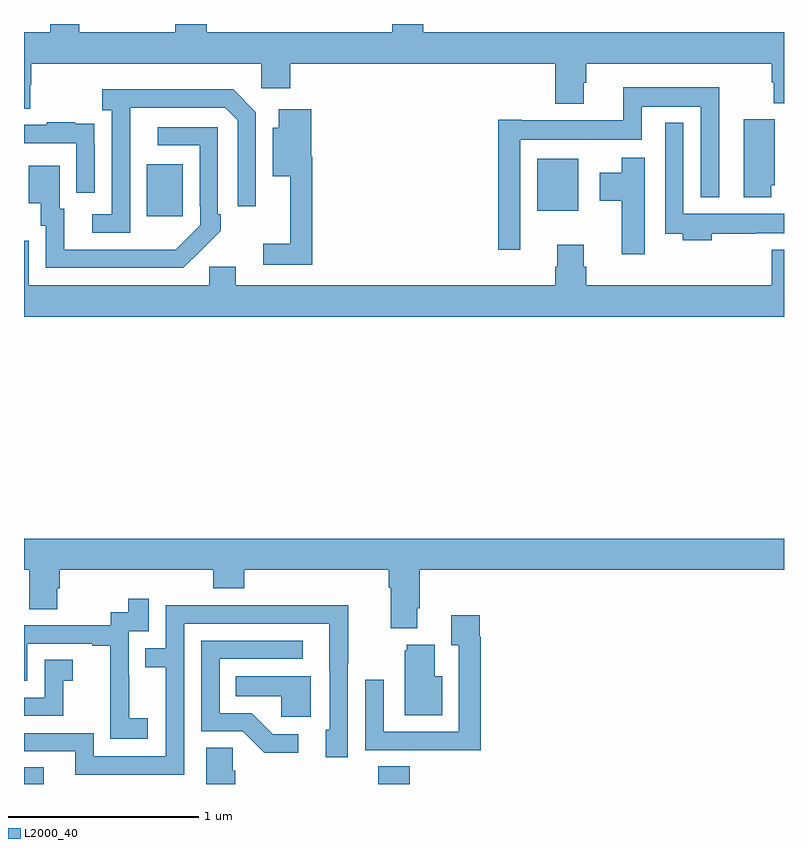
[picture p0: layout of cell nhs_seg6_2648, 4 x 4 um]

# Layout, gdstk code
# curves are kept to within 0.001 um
import gdstk
lib = gdstk.Library(unit=1e-6, precision=1e-09)
def R(c, l, rs):  # rectangles x0, y0, x1, y1
    for r in rs: c.add(gdstk.rectangle(r[:2], r[2:], *l))
def P(c, l, *ps):  # polygons
    for p in ps: c.add(gdstk.Polygon(p, *l))
L2000_40 = (2000, 40)

nhs_seg6_2648 = lib.new_cell('nhs_seg6_2648')
R(nhs_seg6_2648, L2000_40, [(267,987.5,267.103,987.587), (268.865,987.5,269.03,987.593), (267.647,990.489,267.835,990.763), (269.702,990.518,269.917,990.79)])
P(nhs_seg6_2648, L2000_40, [(267.033,991.179),(267.038,991.179),(267.038,991.292),(268.248,991.292),(268.248,991.161),(268.4,991.161),(268.4,991.292),(269.795,991.292),(269.795,991.079),(269.947,991.079),(269.947,991.191),(269.96,991.191),(269.96,991.292),(270.935,991.292),(270.935,991.193),(270.947,991.193),(270.947,991.084),(271,991.084),(271,991.456),(269.102,991.456),(269.102,991.5),(268.937,991.5),(268.937,991.456),(267.962,991.456),(267.962,991.5),(267.797,991.5),(267.797,991.456),(267.29,991.456),(267.29,991.5),(267.138,991.5),(267.138,991.456),(267,991.456),(267,991.054),(267.033,991.054)],
  [(269.613,990.89),(270.252,990.89),(270.252,991.064),(270.561,991.064),(270.561,990.587),(270.658,990.587),(270.658,991.168),(270.155,991.168),(270.155,990.994),(269.62,990.994),(269.62,990.997),(269.497,990.997),(269.497,990.312),(269.613,990.312)],
  [(267.558,990.859),(267.559,991.059),(268.059,991.059),(268.125,990.993),(268.125,990.54),(268.221,990.54),(268.221,991.035),(268.1,991.156),(267.411,991.156),(267.411,991.046),(267.462,991.046),(267.462,990.498),(267.36,990.498),(267.36,990.402),(267.558,990.402)],
  [(268.517,990.802),(268.511,990.802),(268.511,991.051),(268.34,991.051),(268.34,990.955),(268.31,990.955),(268.31,990.698),(268.4,990.698),(268.4,990.343),(268.26,990.343),(268.26,990.234),(268.517,990.234)],
  [(270.934,990.651),(270.952,990.651),(270.952,990.999),(270.788,990.999),(270.788,990.588),(270.934,990.588)],
  [(267.372,990.866),(267.371,990.866),(267.371,990.975),(267.269,990.975),(267.269,990.982),(267.121,990.982),(267.121,990.969),(267,990.969),(267,990.873),(267.276,990.873),(267.276,990.612),(267.372,990.612)],
  [(270.62,990.396),(270.851,990.396),(270.851,990.398),(271,990.398),(271,990.502),(270.471,990.502),(270.471,990.979),(270.375,990.979),(270.375,990.396),(270.467,990.396),(270.467,990.362),(270.62,990.362)],
  [(267.929,990.307),(267.93,990.306),(268.035,990.411),(268.035,990.499),(268.02,990.499),(268.02,990.957),(267.705,990.957),(267.705,990.861),(267.924,990.861),(267.924,990.541),(267.927,990.541),(267.927,990.441),(267.799,990.313),(267.211,990.312),(267.211,990.528),(267.187,990.528),(267.187,990.754),(267.026,990.754),(267.026,990.557),(267.089,990.557),(267.089,990.438),(267.114,990.438),(267.114,990.216),(267.838,990.216)],
  [(270.268,990.796),(270.146,990.796),(270.146,990.718),(270.029,990.718),(270.029,990.571),(270.146,990.571),(270.146,990.288),(270.268,990.288)],
  [(271,990.313),(270.935,990.313),(270.935,990.124),(269.96,990.124),(269.96,990.222),(269.947,990.222),(269.947,990.337),(269.807,990.337),(269.807,990.222),(269.795,990.222),(269.795,990.124),(268.114,990.124),(268.114,990.222),(267.975,990.222),(267.975,990.124),(267.025,990.124),(267.025,990.36),(267,990.36),(267,989.96),(271,989.96)],
  [(269.071,988.426),(269.084,988.426),(269.084,988.628),(271,988.628),(271,988.792),(267,988.792),(267,988.628),(267.028,988.628),(267.028,988.42),(267.175,988.42),(267.175,988.53),(267.188,988.53),(267.188,988.628),(267.995,988.628),(267.995,988.529),(268.16,988.529),(268.16,988.628),(268.919,988.628),(268.919,988.532),(268.931,988.532),(268.931,988.319),(269.071,988.319)],
  [(267.652,987.847),(267.554,987.847),(267.554,988.076),(267.552,988.076),(267.552,988.305),(267.657,988.305),(267.657,988.474),(267.549,988.474),(267.549,988.404),(267.456,988.404),(267.456,988.335),(267,988.335),(267,988.044),(267.018,988.044),(267.018,988.239),(267.359,988.239),(267.359,988.227),(267.455,988.227),(267.455,987.943),(267.454,987.943),(267.454,987.737),(267.652,987.737)],
  [(267.843,988.344),(268.607,988.344),(268.607,988.096),(268.608,988.096),(268.608,987.786),(268.589,987.786),(268.589,987.642),(268.704,987.642),(268.704,988.135),(268.707,988.135),(268.707,988.442),(268.243,988.442),(268.243,988.44),(267.747,988.44),(267.747,988.215),(267.637,988.215),(267.637,988.114),(267.747,988.114),(267.747,987.645),(267.366,987.645),(267.366,987.768),(267,987.768),(267,987.672),(267.269,987.672),(267.269,987.549),(267.843,987.549)],
  [(269.405,988.274),(269.398,988.274),(269.398,988.387),(269.249,988.387),(269.249,988.231),(269.289,988.231),(269.289,987.774),(268.893,987.774),(268.893,988.048),(268.797,988.048),(268.797,987.678),(269.113,987.678),(269.113,987.677),(269.405,987.677)],
  [(268.444,987.762),(268.309,987.762),(268.198,987.873),(268.029,987.873),(268.029,988.158),(268.468,988.158),(268.468,988.254),(267.933,988.254),(267.933,987.777),(268.152,987.777),(268.265,987.665),(268.444,987.665)],
  [(269.2,988.066),(269.161,988.066),(269.161,988.234),(269.015,988.234),(269.015,988.203),(269.003,988.203),(269.003,987.863),(269.2,987.863)],
  [(267.207,988.043),(267.256,988.043),(267.256,988.153),(267.108,988.153),(267.108,987.954),(267,987.954),(267,987.858),(267.207,987.858)],
  [(268.51,988.066),(268.114,988.066),(268.114,987.962),(268.353,987.962),(268.353,987.854),(268.51,987.854)],
  [(268.112,987.569),(268.098,987.569),(268.098,987.692),(267.959,987.692),(267.959,987.5),(268.112,987.5)])

lib.write_gds('nhs_seg6_2648.gds')
